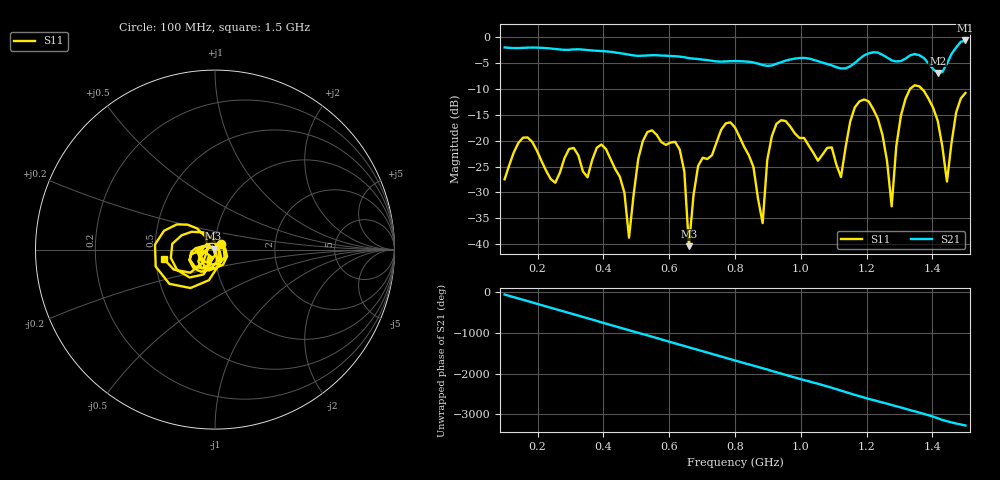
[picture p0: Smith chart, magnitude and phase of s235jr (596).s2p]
! NanoVNA-App
! Date: 2025-09-25 15:08:48
! Start: 100MHz Stop: 1,5GHz Points: 101
! S-Parameter data: F S11 S21 S12 S22
# Hz S RI R 50
!  Frequency  S11_Real  S11_Imag  S21_Real  S21_Imag  S12_Real  S12_Imag  S22_Real  S22_Imag
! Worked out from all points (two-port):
!   101 points, 100 MHz to 1.5 GHz, reference 50 ohm
!   highest |S21| = -0.61 dB at 1.5 GHz (marker M1); lowest = -6.9 dB at 1.416 GHz (marker M2)
!   |S21| within 3 dB of the highest: start of sweep to 602.5 MHz; 1.19 GHz to 1.254 GHz (64.26 MHz wide, 5.26 % of centre) (the widest 2 of 4)
!   lowest |S11| = -40.4 dB at 660 MHz (marker M3), VSWR 1.02, Z = 49.2 + j0.537 ohm
!   |S11| at or under -10 dB: start of sweep to 1.332 GHz; 1.368 GHz to end of sweep
!   S12 and S22 are empty: the file has one direction only
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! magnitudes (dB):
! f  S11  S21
! 100 MHz  -27.5  -2.0
! 156 MHz  -19.4  -2.0
! 338 MHz  -25.9  -2.4
! 408 MHz  -21.6  -2.7
! 478 MHz  -38.8  -3.4
! 520 MHz  -20.1  -3.6
! 576 MHz  -20.3  -3.5
! 632 MHz  -21.7  -3.7
! 660 MHz  -40.4  -4.0
! 688 MHz  -24.9  -4.2
! 800 MHz  -17.5  -4.6
! 884 MHz  -35.9  -5.4
! 926 MHz  -16.7  -5.1
! 1.038 GHz  -22.3  -4.4
! 1.122 GHz  -27.0  -6.0
! 1.164 GHz  -13.6  -5.0
! 1.206 GHz  -12.4  -3.1
! 1.276 GHz  -32.7  -4.5
! 1.332 GHz  -10.0  -3.5
! 1.416 GHz  -16.2  -6.9
! 1.444 GHz  -27.9  -5.1
! 1.5 GHz  -10.8  -0.6
